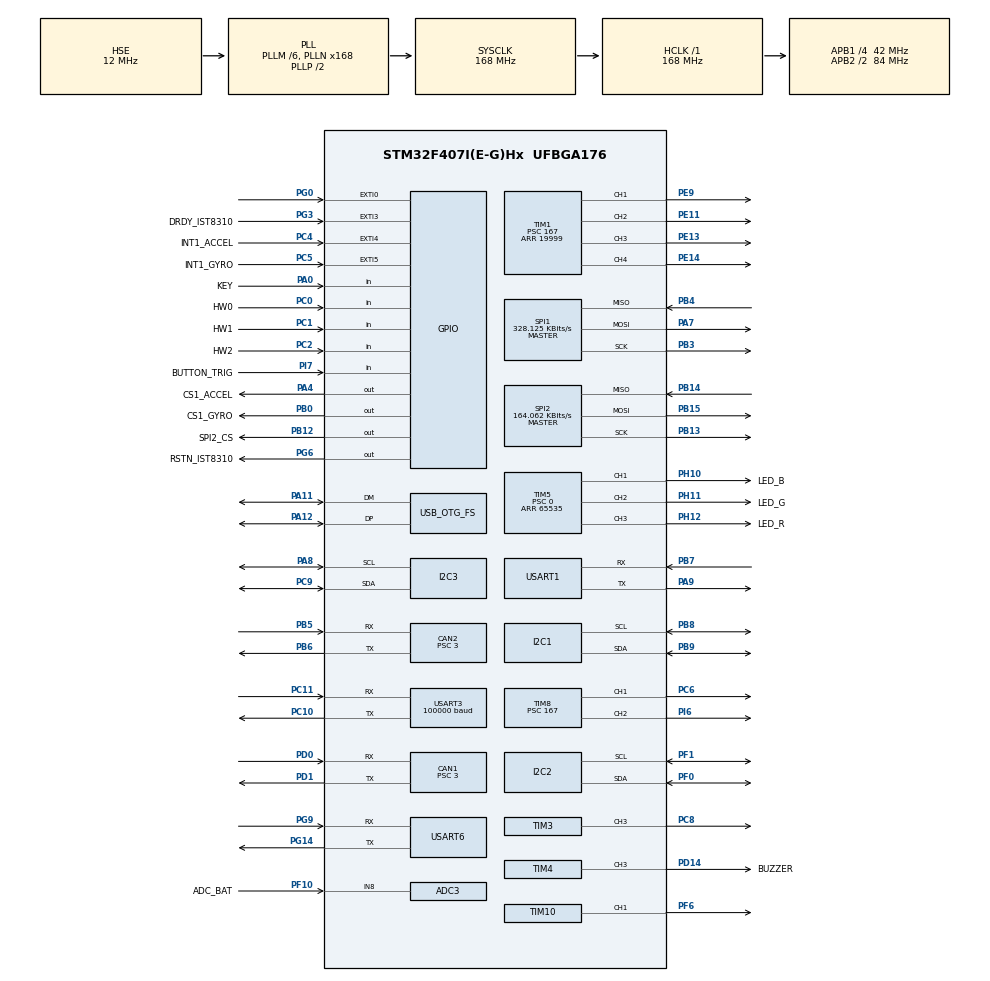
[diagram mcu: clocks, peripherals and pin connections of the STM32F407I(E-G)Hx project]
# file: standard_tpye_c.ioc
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ADC1.Channel-0\#ChannelRegularConversion=ADC_CHANNEL_TEMPSENSOR
ADC1.ClockPrescaler=ADC_CLOCK_SYNC_PCLK_DIV6
ADC1.NbrOfConversionFlag=1
ADC1.Rank-0\#ChannelRegularConversion=1
ADC1.SamplingTime-0\#ChannelRegularConversion=ADC_SAMPLETIME_3CYCLES
ADC1.master=1
ADC3.Channel-0\#ChannelRegularConversion=ADC_CHANNEL_8
ADC3.ClockPrescaler=ADC_CLOCK_SYNC_PCLK_DIV6
ADC3.NbrOfConversionFlag=1
ADC3.Rank-0\#ChannelRegularConversion=1
ADC3.SamplingTime-0\#ChannelRegularConversion=ADC_SAMPLETIME_3CYCLES
CAN1.BS1=CAN_BS1_10TQ
CAN1.BS2=CAN_BS2_3TQ
CAN1.CalculateTimeQuantum=71.42857142857143
CAN1.Prescaler=3
CAN2.BS1=CAN_BS1_10TQ
CAN2.BS2=CAN_BS2_3TQ
CAN2.CalculateTimeQuantum=71.42857142857143
CAN2.Prescaler=3
Dma.I2C2_TX.2.Direction=DMA_MEMORY_TO_PERIPH
Dma.I2C2_TX.2.FIFOMode=DMA_FIFOMODE_DISABLE
Dma.I2C2_TX.2.Instance=DMA1_Stream7
Dma.I2C2_TX.2.MemDataAlignment=DMA_MDATAALIGN_BYTE
Dma.I2C2_TX.2.MemInc=DMA_MINC_ENABLE
Dma.I2C2_TX.2.Mode=DMA_NORMAL
Dma.I2C2_TX.2.PeriphDataAlignment=DMA_PDATAALIGN_BYTE
Dma.I2C2_TX.2.PeriphInc=DMA_PINC_DISABLE
Dma.I2C2_TX.2.Priority=DMA_PRIORITY_HIGH
Dma.Request0=SPI1_RX
Dma.Request1=SPI1_TX
Dma.Request2=I2C2_TX
Dma.Request3=USART3_RX
Dma.Request4=USART6_RX
Dma.Request5=USART6_TX
Dma.Request6=USART1_TX
Dma.Request7=USART1_RX
Dma.SPI1_RX.0.Direction=DMA_PERIPH_TO_MEMORY
Dma.SPI1_RX.0.FIFOMode=DMA_FIFOMODE_DISABLE
Dma.SPI1_RX.0.Instance=DMA2_Stream2
Dma.SPI1_RX.0.MemDataAlignment=DMA_MDATAALIGN_BYTE
Dma.SPI1_RX.0.MemInc=DMA_MINC_ENABLE
Dma.SPI1_RX.0.Mode=DMA_NORMAL
Dma.SPI1_RX.0.PeriphDataAlignment=DMA_PDATAALIGN_BYTE
Dma.SPI1_RX.0.PeriphInc=DMA_PINC_DISABLE
Dma.SPI1_RX.0.Priority=DMA_PRIORITY_VERY_HIGH
Dma.SPI1_TX.1.Direction=DMA_MEMORY_TO_PERIPH
Dma.SPI1_TX.1.FIFOMode=DMA_FIFOMODE_DISABLE
Dma.SPI1_TX.1.Instance=DMA2_Stream3
Dma.SPI1_TX.1.MemDataAlignment=DMA_MDATAALIGN_BYTE
Dma.SPI1_TX.1.MemInc=DMA_MINC_ENABLE
Dma.SPI1_TX.1.Mode=DMA_NORMAL
Dma.SPI1_TX.1.PeriphDataAlignment=DMA_PDATAALIGN_BYTE
Dma.SPI1_TX.1.PeriphInc=DMA_PINC_DISABLE
Dma.SPI1_TX.1.Priority=DMA_PRIORITY_HIGH
Dma.USART1_RX.7.Direction=DMA_PERIPH_TO_MEMORY
Dma.USART1_RX.7.FIFOMode=DMA_FIFOMODE_DISABLE
Dma.USART1_RX.7.Instance=DMA2_Stream5
Dma.USART1_RX.7.MemDataAlignment=DMA_MDATAALIGN_BYTE
Dma.USART1_RX.7.MemInc=DMA_MINC_ENABLE
Dma.USART1_RX.7.Mode=DMA_NORMAL
Dma.USART1_RX.7.PeriphDataAlignment=DMA_PDATAALIGN_BYTE
Dma.USART1_RX.7.PeriphInc=DMA_PINC_DISABLE
Dma.USART1_RX.7.Priority=DMA_PRIORITY_HIGH
Dma.USART1_TX.6.Direction=DMA_MEMORY_TO_PERIPH
Dma.USART1_TX.6.FIFOMode=DMA_FIFOMODE_DISABLE
Dma.USART1_TX.6.Instance=DMA2_Stream7
Dma.USART1_TX.6.MemDataAlignment=DMA_MDATAALIGN_BYTE
Dma.USART1_TX.6.MemInc=DMA_MINC_ENABLE
Dma.USART1_TX.6.Mode=DMA_NORMAL
Dma.USART1_TX.6.PeriphDataAlignment=DMA_PDATAALIGN_BYTE
Dma.USART1_TX.6.PeriphInc=DMA_PINC_DISABLE
Dma.USART1_TX.6.Priority=DMA_PRIORITY_MEDIUM
Dma.USART3_RX.3.Direction=DMA_PERIPH_TO_MEMORY
Dma.USART3_RX.3.FIFOMode=DMA_FIFOMODE_DISABLE
Dma.USART3_RX.3.Instance=DMA1_Stream1
Dma.USART3_RX.3.MemDataAlignment=DMA_MDATAALIGN_BYTE
Dma.USART3_RX.3.MemInc=DMA_MINC_ENABLE
Dma.USART3_RX.3.Mode=DMA_NORMAL
Dma.USART3_RX.3.PeriphDataAlignment=DMA_PDATAALIGN_BYTE
Dma.USART3_RX.3.PeriphInc=DMA_PINC_DISABLE
Dma.USART3_RX.3.Priority=DMA_PRIORITY_HIGH
Dma.USART6_RX.4.Direction=DMA_PERIPH_TO_MEMORY
Dma.USART6_RX.4.FIFOMode=DMA_FIFOMODE_DISABLE
Dma.USART6_RX.4.Instance=DMA2_Stream1
Dma.USART6_RX.4.MemDataAlignment=DMA_MDATAALIGN_BYTE
Dma.USART6_RX.4.MemInc=DMA_MINC_ENABLE
Dma.USART6_RX.4.Mode=DMA_NORMAL
Dma.USART6_RX.4.PeriphDataAlignment=DMA_PDATAALIGN_BYTE
Dma.USART6_RX.4.PeriphInc=DMA_PINC_DISABLE
Dma.USART6_RX.4.Priority=DMA_PRIORITY_HIGH
Dma.USART6_TX.5.Direction=DMA_MEMORY_TO_PERIPH
Dma.USART6_TX.5.FIFOMode=DMA_FIFOMODE_DISABLE
Dma.USART6_TX.5.Instance=DMA2_Stream6
Dma.USART6_TX.5.MemDataAlignment=DMA_MDATAALIGN_BYTE
Dma.USART6_TX.5.MemInc=DMA_MINC_ENABLE
Dma.USART6_TX.5.Mode=DMA_NORMAL
Dma.USART6_TX.5.PeriphDataAlignment=DMA_PDATAALIGN_BYTE
Dma.USART6_TX.5.PeriphInc=DMA_PINC_DISABLE
Dma.USART6_TX.5.Priority=DMA_PRIORITY_MEDIUM
FREERTOS.INCLUDE_eTaskGetState=1
FREERTOS.INCLUDE_pcTaskGetTaskName=1
FREERTOS.INCLUDE_uxTaskGetStackHighWaterMark=1
FREERTOS.INCLUDE_vTaskCleanUpResources=1
FREERTOS.INCLUDE_vTaskDelayUntil=1
FREERTOS.INCLUDE_xEventGroupSetBitFromISR=1
FREERTOS.INCLUDE_xQueueGetMutexHolder=1
FREERTOS.INCLUDE_xSemaphoreGetMutexHolder=1
FREERTOS.INCLUDE_xTaskAbortDelay=1
FREERTOS.INCLUDE_xTaskGetCurrentTaskHandle=1
FREERTOS.INCLUDE_xTaskGetHandle=1
FREERTOS.INCLUDE_xTimerPendFunctionCall=1
FREERTOS.Tasks01=test,24,128,test_task,As weak,NULL,Dynamic,NULL,NULL
FREERTOS.configTOTAL_HEAP_SIZE=24576
I2C1.I2C_Mode=I2C_Fast
I2C2.I2C_Mode=I2C_Fast
I2C3.I2C_Mode=I2C_Fast
Mcu.Family=STM32F4
Mcu.Name=STM32F407I(E-G)Hx
Mcu.Package=UFBGA176
NVIC.CAN1_RX0_IRQn=true\:6\:0\:true\:false\:true\:true\:true\:true\:true
NVIC.CAN2_RX0_IRQn=true\:6\:0\:true\:false\:true\:true\:true\:true\:true
NVIC.DMA1_Stream1_IRQn=true\:5\:0\:true\:false\:false\:true\:false\:false\:true
NVIC.DMA1_Stream7_IRQn=true\:5\:0\:true\:false\:false\:true\:false\:true\:true
NVIC.DMA2_Stream1_IRQn=true\:5\:0\:true\:false\:true\:true\:false\:true\:true
NVIC.DMA2_Stream2_IRQn=true\:5\:0\:true\:false\:false\:true\:false\:true\:true
NVIC.DMA2_Stream3_IRQn=true\:5\:0\:true\:false\:false\:true\:false\:true\:true
NVIC.DMA2_Stream5_IRQn=true\:5\:0\:false\:false\:true\:true\:false\:true\:true
NVIC.DMA2_Stream6_IRQn=true\:5\:0\:true\:false\:true\:true\:false\:true\:true
NVIC.DMA2_Stream7_IRQn=true\:5\:0\:true\:false\:true\:true\:false\:true\:true
NVIC.EXTI0_IRQn=true\:6\:0\:true\:false\:true\:true\:true\:true\:true
NVIC.EXTI3_IRQn=true\:5\:0\:true\:false\:true\:true\:true\:true\:true
NVIC.EXTI4_IRQn=true\:5\:0\:true\:false\:true\:true\:true\:true\:true
NVIC.EXTI9_5_IRQn=true\:5\:0\:true\:false\:true\:true\:true\:true\:true
NVIC.OTG_FS_IRQn=true\:5\:0\:false\:false\:true\:true\:false\:true\:true
NVIC.PriorityGroup=NVIC_PRIORITYGROUP_4
NVIC.USART1_IRQn=true\:5\:0\:false\:false\:true\:true\:true\:true\:true
NVIC.USART3_IRQn=true\:4\:0\:true\:false\:false\:false\:true\:true\:true
NVIC.USART6_IRQn=true\:5\:0\:true\:false\:false\:true\:true\:true\:true
PA0-WKUP.GPIO_Label=KEY
PA0-WKUP.GPIO_PuPd=GPIO_PULLUP
PA0-WKUP.Signal=GPIO_Input
PA11.Mode=Device_Only
PA11.Signal=USB_OTG_FS_DM
PA12.Mode=Device_Only
PA12.Signal=USB_OTG_FS_DP
PA13.Mode=Serial_Wire
PA13.Signal=SYS_JTMS-SWDIO
PA14.Mode=Serial_Wire
PA14.Signal=SYS_JTCK-SWCLK
PA4.GPIO_Label=CS1_ACCEL
PA4.GPIO_PuPd=GPIO_PULLUP
PA4.GPIO_Speed=GPIO_SPEED_FREQ_HIGH
PA4.PinState=GPIO_PIN_SET
PA4.Signal=GPIO_Output
PA7.GPIO_PuPd=GPIO_PULLUP
PA7.Mode=Full_Duplex_Master
PA7.Signal=SPI1_MOSI
PA8.Mode=I2C
PA8.Signal=I2C3_SCL
PA9.Mode=Asynchronous
PA9.Signal=USART1_TX
PB0.GPIO_Label=CS1_GYRO
PB0.GPIO_PuPd=GPIO_PULLUP
PB0.GPIO_Speed=GPIO_SPEED_FREQ_HIGH
PB0.PinState=GPIO_PIN_SET
PB0.Signal=GPIO_Output
PB12.GPIO_Label=SPI2_CS
PB12.GPIO_PuPd=GPIO_PULLUP
PB12.GPIO_Speed=GPIO_SPEED_FREQ_MEDIUM
PB12.PinState=GPIO_PIN_SET
PB12.Signal=GPIO_Output
PB13.GPIO_PuPd=GPIO_PULLUP
PB13.Mode=Full_Duplex_Master
PB13.Signal=SPI2_SCK
PB14.GPIO_PuPd=GPIO_PULLUP
PB14.Mode=Full_Duplex_Master
PB14.Signal=SPI2_MISO
PB15.GPIO_PuPd=GPIO_PULLUP
PB15.Mode=Full_Duplex_Master
PB15.Signal=SPI2_MOSI
PB3.GPIO_PuPd=GPIO_PULLUP
PB3.Mode=Full_Duplex_Master
PB3.Signal=SPI1_SCK
PB4.GPIO_PuPd=GPIO_PULLUP
PB4.Mode=Full_Duplex_Master
PB4.Signal=SPI1_MISO
PB5.Mode=Slave
PB5.Signal=CAN2_RX
PB6.Mode=Slave
PB6.Signal=CAN2_TX
PB7.Mode=Asynchronous
PB7.Signal=USART1_RX
PB8.Mode=I2C
PB8.Signal=I2C1_SCL
PB9.Mode=I2C
PB9.Signal=I2C1_SDA
PC0.GPIO_Label=HW0
PC0.Signal=GPIO_Input
PC1.GPIO_Label=HW1
PC1.Signal=GPIO_Input
PC10.Mode=Asynchronous
PC10.Signal=USART3_TX
PC11.Mode=Asynchronous
PC11.Signal=USART3_RX
PC2.GPIO_Label=HW2
PC2.Signal=GPIO_Input
PC4.GPIO_Label=INT1_ACCEL
PC4.GPIO_ModeDefaultEXTI=GPIO_MODE_IT_FALLING
PC4.GPIO_PuPd=GPIO_PULLUP
PC4.Signal=GPXTI4
PC5.GPIO_Label=INT1_GYRO
PC5.GPIO_ModeDefaultEXTI=GPIO_MODE_IT_FALLING
PC5.GPIO_PuPd=GPIO_PULLUP
PC5.Signal=GPXTI5
PC6.GPIO_PuPd=GPIO_PULLUP
PC6.GPIO_Speed=GPIO_SPEED_FREQ_HIGH
PC6.Signal=S_TIM8_CH1
PC8.GPIO_PuPd=GPIO_PULLUP
PC8.GPIO_Speed=GPIO_SPEED_FREQ_HIGH
PC8.Signal=S_TIM3_CH3
PC9.Mode=I2C
PC9.Signal=I2C3_SDA
PD0.Mode=Master
PD0.Signal=CAN1_RX
PD1.Mode=Master
PD1.Signal=CAN1_TX
PD14.GPIO_Label=BUZZER
PD14.GPIO_PuPd=GPIO_PULLUP
PD14.GPIO_Speed=GPIO_SPEED_FREQ_VERY_HIGH
PD14.Signal=S_TIM4_CH3
PE11.GPIO_PuPd=GPIO_PULLUP
PE11.GPIO_Speed=GPIO_SPEED_FREQ_HIGH
PE11.Signal=S_TIM1_CH2
PE13.GPIO_PuPd=GPIO_PULLUP
PE13.GPIO_Speed=GPIO_SPEED_FREQ_HIGH
PE13.Signal=S_TIM1_CH3
PE14.GPIO_PuPd=GPIO_PULLUP
PE14.GPIO_Speed=GPIO_SPEED_FREQ_HIGH
PE14.Signal=S_TIM1_CH4
PE9.GPIO_PuPd=GPIO_PULLUP
PE9.GPIO_Speed=GPIO_SPEED_FREQ_HIGH
PE9.Signal=S_TIM1_CH1
PF0.Mode=I2C
PF0.Signal=I2C2_SDA
PF1.Mode=I2C
PF1.Signal=I2C2_SCL
PF10.GPIO_Label=ADC_BAT
PF10.Mode=IN8
PF10.Signal=ADC3_IN8
PF6.GPIO_PuPd=GPIO_PULLUP
PF6.GPIO_Speed=GPIO_SPEED_FREQ_HIGH
PF6.Signal=S_TIM10_CH1
PG0.GPIO_ModeDefaultEXTI=GPIO_MODE_IT_FALLING
PG0.GPIO_PuPd=GPIO_PULLUP
PG0.Signal=GPXTI0
PG14.Mode=Asynchronous
PG14.Signal=USART6_TX
PG3.GPIO_Label=DRDY_IST8310
PG3.GPIO_ModeDefaultEXTI=GPIO_MODE_IT_FALLING
PG3.GPIO_PuPd=GPIO_PULLUP
PG3.Signal=GPXTI3
PG6.GPIO_Label=RSTN_IST8310
PG6.GPIO_PuPd=GPIO_PULLUP
PG6.GPIO_Speed=GPIO_SPEED_FREQ_MEDIUM
PG6.PinState=GPIO_PIN_SET
PG6.Signal=GPIO_Output
PG9.Mode=Asynchronous
PG9.Signal=USART6_RX
PH0-OSC_IN.Mode=HSE-External-Oscillator
PH0-OSC_IN.Signal=RCC_OSC_IN
PH1-OSC_OUT.Mode=HSE-External-Oscillator
PH1-OSC_OUT.Signal=RCC_OSC_OUT
PH10.GPIO_Label=LED_B
PH10.GPIO_PuPd=GPIO_PULLUP
PH10.GPIO_Speed=GPIO_SPEED_FREQ_HIGH
PH10.Signal=S_TIM5_CH1
PH11.GPIO_Label=LED_G
PH11.GPIO_PuPd=GPIO_PULLUP
PH11.GPIO_Speed=GPIO_SPEED_FREQ_HIGH
PH11.Signal=S_TIM5_CH2
PH12.GPIO_Label=LED_R
PH12.GPIO_PuPd=GPIO_PULLUP
PH12.GPIO_Speed=GPIO_SPEED_FREQ_HIGH
PH12.Signal=S_TIM5_CH3
PI6.GPIO_PuPd=GPIO_PULLUP
PI6.GPIO_Speed=GPIO_SPEED_FREQ_HIGH
PI6.Signal=S_TIM8_CH2
PI7.GPIO_Label=BUTTON_TRIG
PI7.GPIO_PuPd=GPIO_PULLUP
PI7.Signal=GPIO_Input
ProjectManager.HeapSize=0x2000
ProjectManager.StackSize=0x2000
ProjectManager.TargetToolchain=MDK-ARM V5
RCC.48MHZClocksFreq_Value=48000000
RCC.AHBFreq_Value=168000000
RCC.APB1CLKDivider=RCC_HCLK_DIV4
RCC.APB1Freq_Value=42000000
RCC.APB1TimFreq_Value=84000000
RCC.APB2CLKDivider=RCC_HCLK_DIV2
RCC.APB2Freq_Value=84000000
RCC.APB2TimFreq_Value=168000000
RCC.CortexFreq_Value=168000000
RCC.HCLKFreq_Value=168000000
RCC.HSE_VALUE=12000000
RCC.HSI_VALUE=16000000
RCC.LSE_VALUE=32768
RCC.PLLM=6
RCC.PLLN=168
RCC.PLLQ=7
RCC.RCC_RTC_Clock_SourceVirtual=RCC_RTCCLKSOURCE_HSE_DIV30
RCC.RCC_RTC_Clock_Source_FROM_HSE=RCC_RTCCLKSOURCE_HSE_DIV30
RCC.SYSCLKFreq_VALUE=168000000
RCC.SYSCLKSource=RCC_SYSCLKSOURCE_PLLCLK
RCC.VCOOutputFreq_Value=336000000
RTC.AsynchPrediv=124
RTC.SynchPrediv=3199
SH.S_TIM10_CH1.0=TIM10_CH1,PWM Generation1 CH1
SH.S_TIM1_CH1.0=TIM1_CH1,PWM Generation1 CH1
SH.S_TIM1_CH2.0=TIM1_CH2,PWM Generation2 CH2
SH.S_TIM1_CH3.0=TIM1_CH3,PWM Generation3 CH3
SH.S_TIM1_CH4.0=TIM1_CH4,PWM Generation4 CH4
SH.S_TIM3_CH3.0=TIM3_CH3,PWM Generation3 CH3
SH.S_TIM4_CH3.0=TIM4_CH3,PWM Generation3 CH3
SH.S_TIM5_CH1.0=TIM5_CH1,PWM Generation1 CH1
SH.S_TIM5_CH2.0=TIM5_CH2,PWM Generation2 CH2
SH.S_TIM5_CH3.0=TIM5_CH3,PWM Generation3 CH3
SH.S_TIM8_CH1.0=TIM8_CH1,PWM Generation1 CH1
SH.S_TIM8_CH2.0=TIM8_CH2,PWM Generation2 CH2
SPI1.BaudRatePrescaler=SPI_BAUDRATEPRESCALER_256
SPI1.CLKPhase=SPI_PHASE_2EDGE
SPI1.CLKPolarity=SPI_POLARITY_HIGH
SPI1.CalculateBaudRate=328.125 KBits/s
SPI1.Direction=SPI_DIRECTION_2LINES
SPI1.Mode=SPI_MODE_MASTER
SPI1.VirtualType=VM_MASTER
SPI2.BaudRatePrescaler=SPI_BAUDRATEPRESCALER_256
SPI2.CLKPhase=SPI_PHASE_2EDGE
SPI2.CLKPolarity=SPI_POLARITY_HIGH
SPI2.CalculateBaudRate=164.062 KBits/s
SPI2.Direction=SPI_DIRECTION_2LINES
SPI2.Mode=SPI_MODE_MASTER
SPI2.VirtualType=VM_MASTER
TIM1.Channel-PWM\ Generation1\ CH1=TIM_CHANNEL_1
TIM1.Channel-PWM\ Generation2\ CH2=TIM_CHANNEL_2
TIM1.Channel-PWM\ Generation3\ CH3=TIM_CHANNEL_3
TIM1.Channel-PWM\ Generation4\ CH4=TIM_CHANNEL_4
TIM1.Period=19999
TIM1.Prescaler=167
TIM1.Pulse-PWM\ Generation1\ CH1=1000
TIM1.Pulse-PWM\ Generation2\ CH2=1000
TIM1.Pulse-PWM\ Generation3\ CH3=1000
TIM1.Pulse-PWM\ Generation4\ CH4=1000
TIM10.Channel=TIM_CHANNEL_1
TIM10.Period=4999
TIM3.Channel-PWM\ Generation3\ CH3=TIM_CHANNEL_3
TIM3.Period=8399
TIM4.Channel-PWM\ Generation3\ CH3=TIM_CHANNEL_3
TIM4.Period=65535
TIM4.Prescaler=167
TIM5.Channel-PWM\ Generation1\ CH1=TIM_CHANNEL_1
TIM5.Channel-PWM\ Generation2\ CH2=TIM_CHANNEL_2
TIM5.Channel-PWM\ Generation3\ CH3=TIM_CHANNEL_3
TIM5.Period=65535
TIM5.Prescaler=0
TIM8.Channel-PWM\ Generation1\ CH1=TIM_CHANNEL_1
TIM8.Channel-PWM\ Generation2\ CH2=TIM_CHANNEL_2
TIM8.Period=19999
TIM8.Prescaler=167
TIM8.Pulse-PWM\ Generation1\ CH1=1000
TIM8.Pulse-PWM\ Generation2\ CH2=1000
USART1.VirtualMode=VM_ASYNC
USART3.BaudRate=100000
USART3.Parity=PARITY_EVEN
USART3.VirtualMode=VM_ASYNC
USART6.VirtualMode=VM_ASYNC
USB_DEVICE.CLASS_NAME_FS=CDC
USB_DEVICE.VirtualMode-CDC_FS=Cdc
USB_DEVICE.VirtualModeFS=Cdc_FS
USB_OTG_FS.VirtualMode=Device_Only
VP_ADC1_TempSens_Input.Mode=IN-TempSens
VP_ADC1_Vref_Input.Mode=IN-Vrefint
VP_CRC_VS_CRC.Mode=CRC_Activate
VP_FREERTOS_VS_CMSIS_V1.Mode=CMSIS_V1
VP_RNG_VS_RNG.Mode=RNG_Activate
VP_RTC_VS_RTC_Activate.Mode=RTC_Enabled
VP_TIM10_VS_ClockSourceINT.Mode=Enable_Timer
VP_TIM1_VS_ClockSourceINT.Mode=Internal
VP_TIM3_VS_ClockSourceINT.Mode=Internal
VP_TIM4_VS_ClockSourceINT.Mode=Internal
VP_TIM5_VS_ClockSourceINT.Mode=Internal
VP_TIM8_VS_ClockSourceINT.Mode=Internal
VP_USB_DEVICE_VS_USB_DEVICE_CDC_FS.Mode=CDC_FS
board=custom

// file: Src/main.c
/* USER CODE BEGIN Header */
/**
  ******************************************************************************
  * @file           : main.c
  * @brief          : Main program body
  ******************************************************************************
  * @attention
  *
  * <h2><center>&copy; Copyright (c) 2019 STMicroelectronics.
  * All rights reserved.</center></h2>
  *
  * This software component is licensed by ST under Ultimate Liberty license
  * SLA0044, the "License"; You may not use this file except in compliance with
  * the License. You may obtain a copy of the License at:
  *                             www.st.com/SLA0044
  *
  ******************************************************************************
  */
/* USER CODE END Header */

#include "main.h"
#include "cmsis_os.h"
#include "adc.h"
#include "can.h"
#include "crc.h"
#include "dma.h"
#include "i2c.h"
#include "rng.h"
#include "rtc.h"
#include "spi.h"
#include "tim.h"
#include "usart.h"
#include "usb_device.h"
#include "gpio.h"

/* USER CODE BEGIN Includes */
#include "bsp_can.h"
#include "bsp_delay.h"
#include "bsp_usart.h"
#include "remote_control.h"

#include "calibrate_task.h"
#include "chassis_task.h"
#include "detect_task.h"
#include "gimbal_task.h"
#include "INS_task.h"
#include "led_flow_task.h"
#include "oled_task.h"
#include "referee_usart_task.h"
#include "usb_task.h"
#include "voltage_task.h"
#include "cv_task.h"
/* USER CODE END Includes */

void SystemClock_Config(void);
void MX_FREERTOS_Init(void);

int main(void)
{

  /* MCU Configuration--------------------------------------------------------*/

  /* Reset of all peripherals, Initializes the Flash interface and the Systick. */
  HAL_Init();

  /* Configure the system clock */
  SystemClock_Config();

  /* Initialize all configured peripherals */
  MX_GPIO_Init();
  MX_DMA_Init();
  MX_ADC1_Init();
  MX_ADC3_Init();
  MX_CAN1_Init();
  MX_CAN2_Init();
  MX_I2C1_Init();
  MX_SPI1_Init();
  MX_TIM4_Init();
  MX_TIM5_Init();
  MX_USART3_UART_Init();
  MX_TIM8_Init();
  MX_CRC_Init();
  MX_RNG_Init();
  MX_I2C2_Init();
  MX_I2C3_Init();
  MX_RTC_Init();
  MX_SPI2_Init();
  MX_TIM1_Init();
  MX_TIM3_Init();
  MX_TIM10_Init();
  MX_USART1_UART_Init();
  MX_USART6_UART_Init();
  /* USER CODE BEGIN 2 */
    can_filter_init();
    delay_init();
    cali_param_init();
    remote_control_init();
  /* USER CODE END 2 */

  /* Call init function for freertos objects (in freertos.c) */
  MX_FREERTOS_Init();

  /* Start scheduler */
  osKernelStart();

  /* We should never get here as control is now taken by the scheduler */

  /* Infinite loop */
  while (1)
  {

  }
}

void SystemClock_Config(void)
{
  RCC_OscInitTypeDef RCC_OscInitStruct = {0};
  RCC_ClkInitTypeDef RCC_ClkInitStruct = {0};
  RCC_PeriphCLKInitTypeDef PeriphClkInitStruct = {0};

  /** Configure the main internal regulator output voltage
  */
  __HAL_RCC_PWR_CLK_ENABLE();
  __HAL_PWR_VOLTAGESCALING_CONFIG(PWR_REGULATOR_VOLTAGE_SCALE1);
  /** Initializes the CPU, AHB and APB busses clocks
  */
  RCC_OscInitStruct.OscillatorType = RCC_OSCILLATORTYPE_HSE;
  RCC_OscInitStruct.HSEState = RCC_HSE_ON;
  RCC_OscInitStruct.PLL.PLLState = RCC_PLL_ON;
  RCC_OscInitStruct.PLL.PLLSource = RCC_PLLSOURCE_HSE;
  RCC_OscInitStruct.PLL.PLLM = 6;
  RCC_OscInitStruct.PLL.PLLN = 168;
  RCC_OscInitStruct.PLL.PLLP = RCC_PLLP_DIV2;
  RCC_OscInitStruct.PLL.PLLQ = 7;
  if (HAL_RCC_OscConfig(&RCC_OscInitStruct) != HAL_OK)
  {
    Error_Handler();
  }
  /** Initializes the CPU, AHB and APB busses clocks
  */
  RCC_ClkInitStruct.ClockType = RCC_CLOCKTYPE_HCLK|RCC_CLOCKTYPE_SYSCLK
                              |RCC_CLOCKTYPE_PCLK1|RCC_CLOCKTYPE_PCLK2;
  RCC_ClkInitStruct.SYSCLKSource = RCC_SYSCLKSOURCE_PLLCLK;
  RCC_ClkInitStruct.AHBCLKDivider = RCC_SYSCLK_DIV1;
  RCC_ClkInitStruct.APB1CLKDivider = RCC_HCLK_DIV4;
  RCC_ClkInitStruct.APB2CLKDivider = RCC_HCLK_DIV2;

  if (HAL_RCC_ClockConfig(&RCC_ClkInitStruct, FLASH_LATENCY_5) != HAL_OK)
  {
    Error_Handler();
  }
  PeriphClkInitStruct.PeriphClockSelection = RCC_PERIPHCLK_RTC;
  PeriphClkInitStruct.RTCClockSelection = RCC_RTCCLKSOURCE_HSE_DIV30;
  if (HAL_RCCEx_PeriphCLKConfig(&PeriphClkInitStruct) != HAL_OK)
  {
    Error_Handler();
  }
}

void Error_Handler(void)
{
}

/************************ (C) COPYRIGHT STMicroelectronics *****END OF FILE****/

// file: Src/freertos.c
/* USER CODE BEGIN Header */
/**
  ******************************************************************************
  * File Name          : freertos.c
  * Description        : Code for freertos applications
  ******************************************************************************
  * @attention
  *
  * <h2><center>&copy; Copyright (c) 2019 STMicroelectronics.
  * All rights reserved.</center></h2>
  *
  * This software component is licensed by ST under Ultimate Liberty license
  * SLA0044, the "License"; You may not use this file except in compliance with
  * the License. You may obtain a copy of the License at:
  *                             www.st.com/SLA0044
  *
  ******************************************************************************
  */
/* USER CODE END Header */

#include "FreeRTOS.h"
#include "task.h"
#include "main.h"
#include "cmsis_os.h"

/* USER CODE BEGIN Includes */

#include "calibrate_task.h"
#include "chassis_task.h"
#include "detect_task.h"
#include "gimbal_task.h"
#include "INS_task.h"
#include "led_flow_task.h"
#include "oled_task.h"
#include "referee_usart_task.h"
#include "usb_task.h"
#include "voltage_task.h"
#include "servo_task.h"
#include "cv_task.h"
/* USER CODE END Includes */

/* USER CODE BEGIN PTD */

osThreadId calibrate_tast_handle;
osThreadId chassisTaskHandle;
osThreadId detect_handle;
osThreadId gimbalTaskHandle;
osThreadId imuTaskHandle;
osThreadId led_RGB_flow_handle;
osThreadId oled_handle;
osThreadId referee_usart_task_handle;
osThreadId usb_task_handle;
osThreadId battery_voltage_handle;
osThreadId servo_task_handle;
osThreadId cv_task_handle;

/* USER CODE END PTD */

osThreadId testHandle;

void test_task(void const * argument);

extern void MX_USB_DEVICE_Init(void);
void MX_FREERTOS_Init(void); /* (MISRA C 2004 rule 8.1) */

/* GetIdleTaskMemory prototype (linked to static allocation support) */
void vApplicationGetIdleTaskMemory( StaticTask_t **ppxIdleTaskTCBBuffer, StackType_t **ppxIdleTaskStackBuffer, uint32_t *pulIdleTaskStackSize );

/* GetTimerTaskMemory prototype (linked to static allocation support) */
void vApplicationGetTimerTaskMemory( StaticTask_t **ppxTimerTaskTCBBuffer, StackType_t **ppxTimerTaskStackBuffer, uint32_t *pulTimerTaskStackSize );

/* USER CODE BEGIN GET_IDLE_TASK_MEMORY */
static StaticTask_t xIdleTaskTCBBuffer;
static StackType_t xIdleStack[configMINIMAL_STACK_SIZE];

void vApplicationGetIdleTaskMemory( StaticTask_t **ppxIdleTaskTCBBuffer, StackType_t **ppxIdleTaskStackBuffer, uint32_t *pulIdleTaskStackSize )
{
  *ppxIdleTaskTCBBuffer = &xIdleTaskTCBBuffer;
  *ppxIdleTaskStackBuffer = &xIdleStack[0];
  *pulIdleTaskStackSize = configMINIMAL_STACK_SIZE;
  /* place for user code */
}
/* USER CODE END GET_IDLE_TASK_MEMORY */

/* USER CODE BEGIN GET_TIMER_TASK_MEMORY */
static StaticTask_t xTimerTaskTCBBuffer;
static StackType_t xTimerStack[configTIMER_TASK_STACK_DEPTH];

void vApplicationGetTimerTaskMemory( StaticTask_t **ppxTimerTaskTCBBuffer, StackType_t **ppxTimerTaskStackBuffer, uint32_t *pulTimerTaskStackSize )
{
  *ppxTimerTaskTCBBuffer = &xTimerTaskTCBBuffer;
  *ppxTimerTaskStackBuffer = &xTimerStack[0];
  *pulTimerTaskStackSize = configTIMER_TASK_STACK_DEPTH;
  /* place for user code */
}
/* USER CODE END GET_TIMER_TASK_MEMORY */

void MX_FREERTOS_Init(void) {

  /* Create the thread(s) */
  /* definition and creation of test */
  osThreadDef(test, test_task, osPriorityNormal, 0, 128);
  testHandle = osThreadCreate(osThread(test), NULL);

  /* USER CODE BEGIN RTOS_THREADS */
  /* add threads, ... */
    osThreadDef(cali, calibrate_task, osPriorityNormal, 0, 512);
    calibrate_tast_handle = osThreadCreate(osThread(cali), NULL);

    osThreadDef(ChassisTask, chassis_task, osPriorityAboveNormal, 0, 512);
    chassisTaskHandle = osThreadCreate(osThread(ChassisTask), NULL);

    osThreadDef(DETECT, detect_task, osPriorityNormal, 0, 256);
    detect_handle = osThreadCreate(osThread(DETECT), NULL);

    osThreadDef(gimbalTask, gimbal_task, osPriorityHigh, 0, 512);
    gimbalTaskHandle = osThreadCreate(osThread(gimbalTask), NULL);

    osThreadDef(imuTask, INS_task, osPriorityRealtime, 0, 1024);
    imuTaskHandle = osThreadCreate(osThread(imuTask), NULL);

    osThreadDef(led, led_RGB_flow_task, osPriorityNormal, 0, 256);
    led_RGB_flow_handle = osThreadCreate(osThread(led), NULL);

    osThreadDef(OLED, oled_task, osPriorityLow, 0, 256);
    oled_handle = osThreadCreate(osThread(OLED), NULL);

    osThreadDef(REFEREE, referee_usart_task, osPriorityNormal, 0, 128);
    referee_usart_task_handle = osThreadCreate(osThread(REFEREE), NULL);

    osThreadDef(USBTask, usb_task, osPriorityNormal, 0, 128);
    usb_task_handle = osThreadCreate(osThread(USBTask), NULL);

    osThreadDef(BATTERY_VOLTAGE, battery_voltage_task, osPriorityNormal, 0, 128);
    battery_voltage_handle = osThreadCreate(osThread(BATTERY_VOLTAGE), NULL);

    osThreadDef(SERVO, servo_task, osPriorityNormal, 0, 128);
    servo_task_handle = osThreadCreate(osThread(SERVO), NULL);

    osThreadDef(CV, cv_usart_task, osPriorityNormal, 0, 128);// TODO CV
    cv_task_handle = osThreadCreate(osThread(CV), NULL);

  /* USER CODE END RTOS_THREADS */

}

__weak void test_task(void const * argument)
{
  /* init code for USB_DEVICE */
  MX_USB_DEVICE_Init();

  for(;;)
  {
    osDelay(1);
  }
}

/************************ (C) COPYRIGHT STMicroelectronics *****END OF FILE****/
